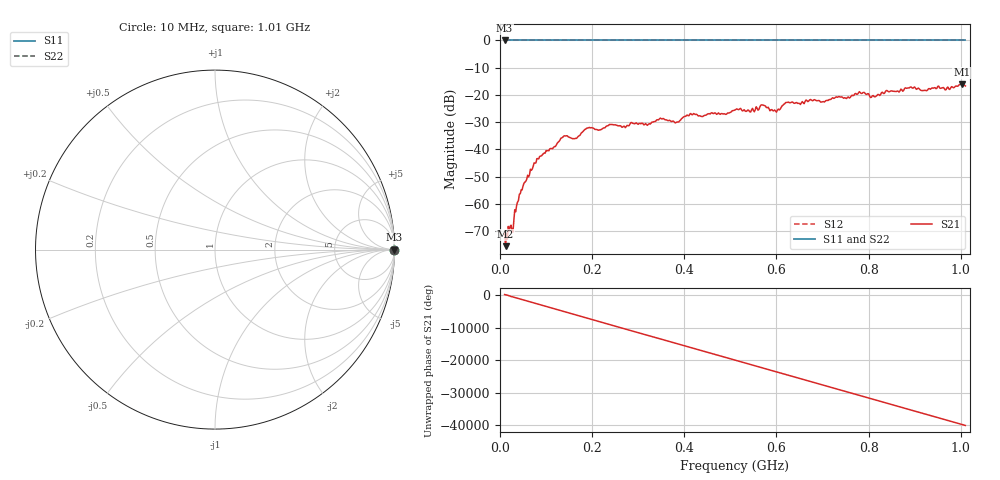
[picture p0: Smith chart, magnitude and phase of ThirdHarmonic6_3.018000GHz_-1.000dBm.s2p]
! 8/17/2025 8:40:43 AM
! C:\ANRITSUVNA\TEMP\TEMP.S2P
! CHANNEL.1
! TR.MEASUREMENT
! RAW.DATA
! RF.CORRECTION.OFF
! AVERAGING.OFF
! IF.BANDWIDTH: 5KHZ
! SWEEPTYPE:  FREQ.SWEEP(Linear)
! Reference Plane Port Info
! PORT:  PORT1  PORT2
! DISTANCE:  0  m  0  m
! TIME:  0  s  0  s
! PHASE.OFFSET:  0  deg.  0  deg.
! LOSS:  0  dB  0  dB
! REF.LOSS:  0  dB  0  dB
! REF.FREQ:  0  Hz  0  Hz
! Power Info
! POWER:  -20  dBm  -20  dBm
! EFF.POWER:  -20  dBm  -20  dBm
! SOURCE.ATTEN:  0  dB  0  dB
! TEST.ATTEN:  0  dB  0  dB
# GHZ S RI R 50.0
! FREQ.GHZ  S11RE  S11IM  S21RE  S21IM  S12RE  S12IM  S22RE  S22IM
!; PortSelection: Port_12
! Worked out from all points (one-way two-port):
!   501 points, 10 MHz to 1.01 GHz, reference 50 ohm
!   highest |S21| = -16.10 dB at 1.002 GHz (marker M1); lowest = -75.6 dB at 12 MHz (marker M2)
!   lowest |S11| = 0.0 dB at 10 MHz (marker M3)
!   |S11| at or under -10 dB: nowhere
!   |S22| runs from 0.0 to 0.0 dB; largest |S21 - S12| = 1.1
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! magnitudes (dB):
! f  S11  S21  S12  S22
! 10 MHz  0.0  -70.1  0.0  0.0
! 12 MHz  0.0  -75.6  0.0  0.0
! 26 MHz  0.0  -69.8  0.0  0.0
! 46 MHz  0.0  -54.9  0.0  0.0
! 78 MHz  0.0  -45.0  0.0  0.0
! 136 MHz  0.0  -35.6  0.0  0.0
! 162 MHz  0.0  -36.1  0.0  0.0
! 178 MHz  0.0  -33.8  0.0  0.0
! 192 MHz  0.0  -32.1  0.0  0.0
! 322 MHz  0.0  -30.8  0.0  0.0
! 344 MHz  0.0  -29.2  0.0  0.0
! 384 MHz  0.0  -29.9  0.0  0.0
! 416 MHz  0.0  -27.3  0.0  0.0
! 510 MHz  0.0  -25.5  0.0  0.0
! 548 MHz  0.0  -24.9  0.0  0.0
! 570 MHz  0.0  -23.7  0.0  0.0
! 598 MHz  0.0  -25.9  0.0  0.0
! 622 MHz  0.0  -22.8  0.0  0.0
! 678 MHz  0.0  -22.1  0.0  0.0
! 844 MHz  0.0  -18.9  0.0  0.0
! 1.002 GHz  0.0  -16.1  0.0  0.0
! 1.01 GHz  0.0  -16.7  0.0  0.0
